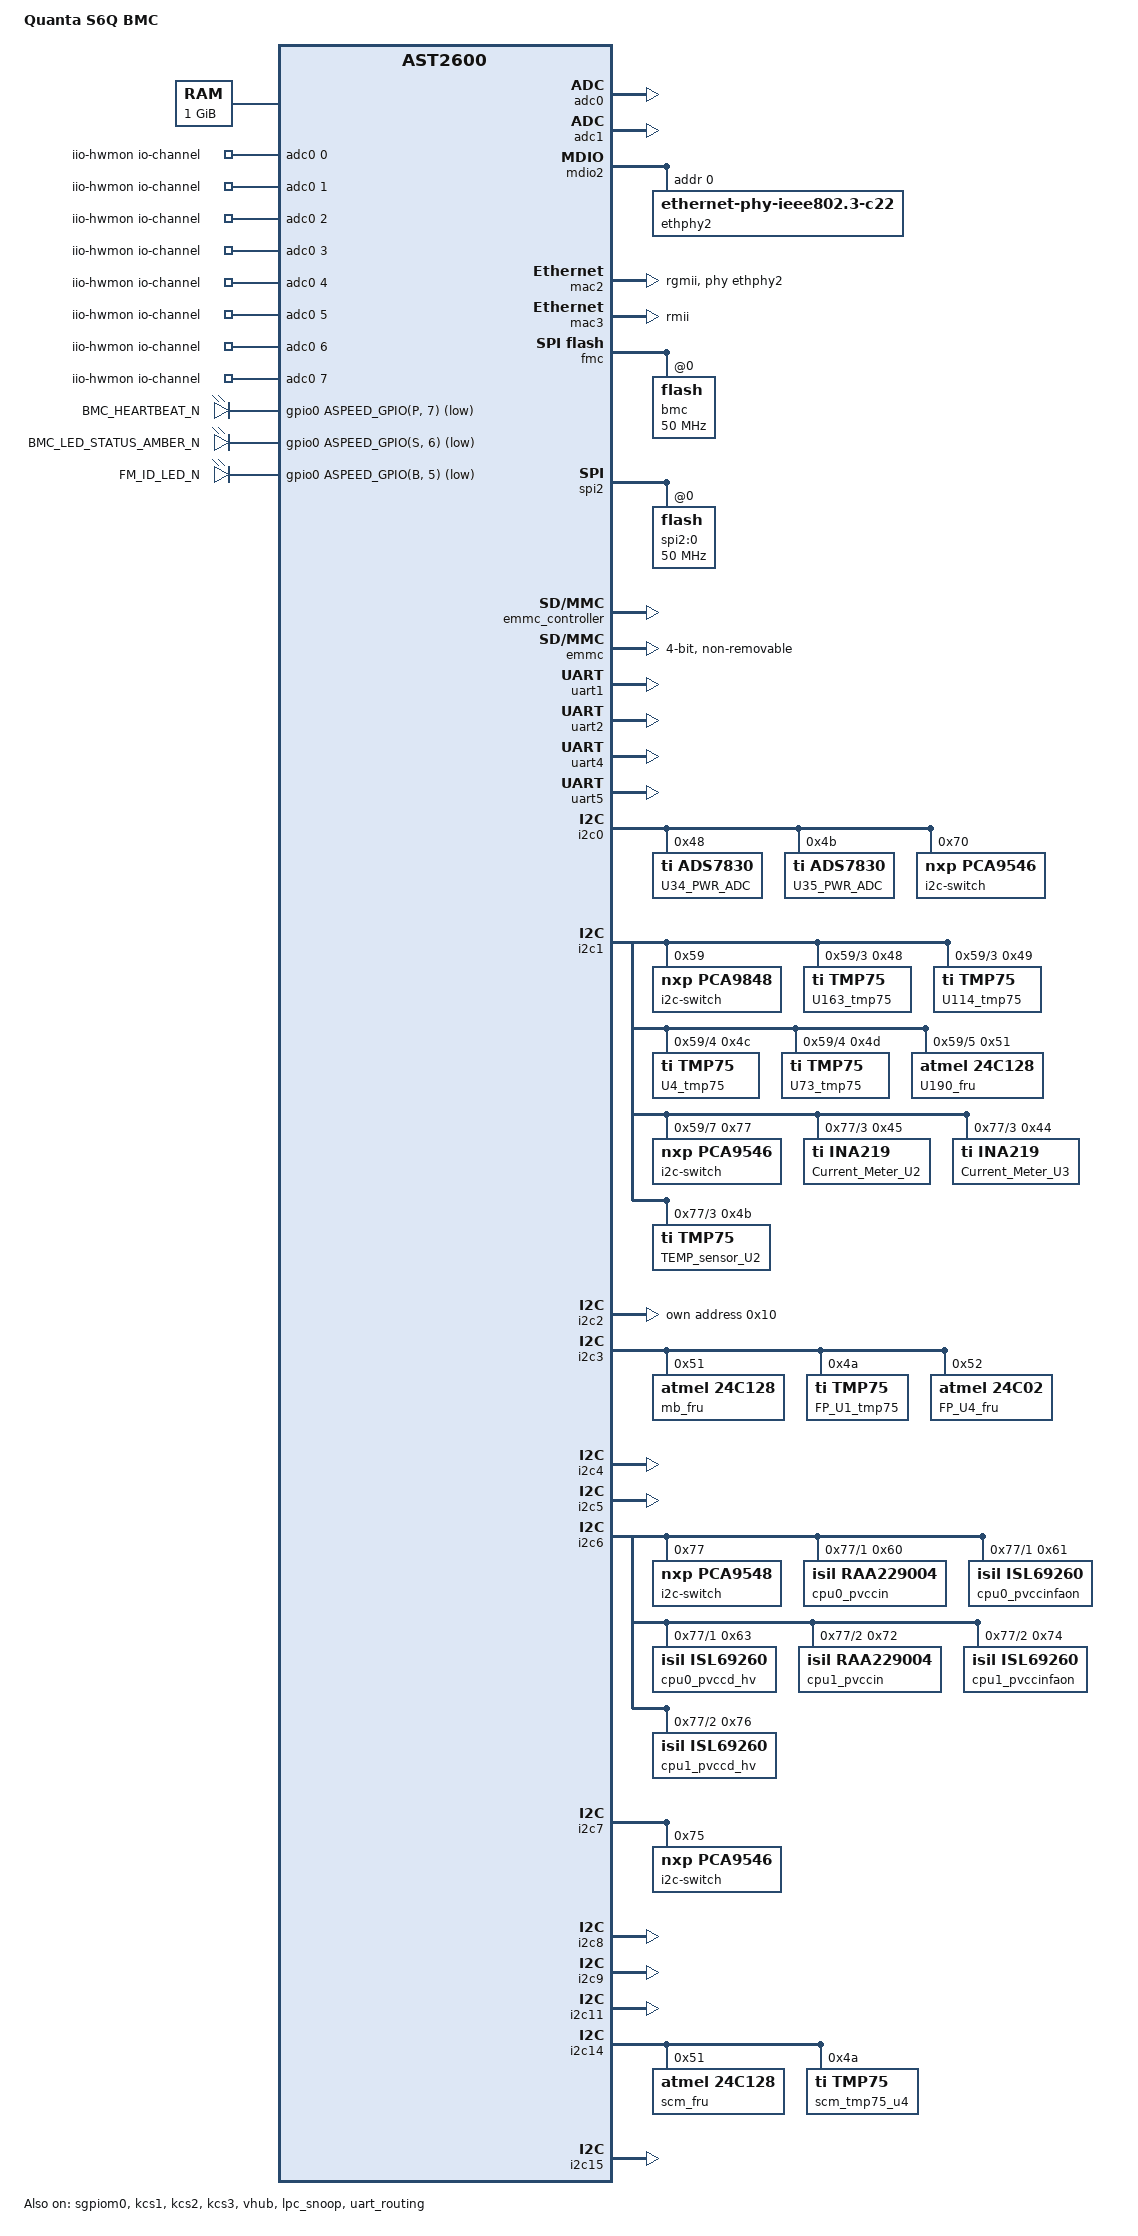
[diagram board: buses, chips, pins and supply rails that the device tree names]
// SPDX-License-Identifier: GPL-2.0-or-later
// Copyright 2022 Quanta Corp.
/dts-v1/;

#include "aspeed-g6.dtsi"
#include <dt-bindings/gpio/aspeed-gpio.h>
#include <dt-bindings/i2c/i2c.h>

/ {
	model = "Quanta S6Q BMC";
	compatible = "quanta,s6q-bmc", "aspeed,ast2600";

	aliases {
		// bus 0
		i2c20 = &SMB_HOST_DB2000_3V3AUX_SCL;
		i2c21 = &U12_PCA9546_CH1;
		i2c22 = &SMB_HOST_DB800_B_SCL;
		i2c23 = &SMB_HOST_DB800_C_SCL;

		// bus 1
		i2c24 = &SMB_M2_P0_1V8AUX_SCL;
		i2c25 = &SMB_M2_P1_1V8AUX_SCL;
		i2c26 = &SMB_CPU_PIROM_3V3AUX_SCL;
		i2c27 = &SMB_TEMP_3V3AUX_SCL;
		i2c28 = &SMB_IPMB_3V3AUX_SSDSB_SCL;
		i2c29 = &SMB_IPMB_3V3AUX_SCL;
		i2c31 = &SMB_FB_SCL;

		// bus 1 - Fan board
		i2c32 = &SMB_IOEXP_SCL;
		i2c33 = &SMB_PROGRAM_SCL;
		i2c34 = &SMB_FB_SCL_CH2;
		i2c35 = &SMB_FAN_SENSE_SCL;

		// bus 6
		i2c36 = &U197_PCA9546_CH0;
		i2c37 = &U197_PCA9546_CH1;
		i2c38 = &U197_PCA9546_CH2;
		i2c39 = &U197_PCA9546_CH3;

		//bus 7
		i2c40 = &SMB_OCP_SFF_3V3AUX_SCL; //OCP1
		i2c41 = &SMB_OCP_LFF_3V3AUX_SCL; //OCP2
	};

	chosen {
		stdout-path = &uart5;
		bootargs = "console=ttyS4,115200n8 earlycon";
	};

	memory@80000000 {
		device_type = "memory";
		reg = <0x80000000 0x40000000>;
	};

	iio-hwmon {
		compatible = "iio-hwmon";
		io-channels = <&adc0 0>, <&adc0 1>, <&adc0 2>, <&adc0 3>,
			<&adc0 4>, <&adc0 5>, <&adc0 6>, <&adc0 7>,
			<&adc1 0>, <&adc1 1>, <&adc1 2>, <&adc1 3>,
			<&adc1 4>, <&adc1 5>, <&adc1 6>, <&adc1 7>;
	};

	leds {
		compatible = "gpio-leds";

		BMC_HEARTBEAT_N {
			label = "BMC_HEARTBEAT_N";
			gpios = <&gpio0 ASPEED_GPIO(P, 7) GPIO_ACTIVE_LOW>;
			linux,default-trigger = "heartbeat";
		};

		BMC_LED_STATUS_AMBER_N {
			label = "BMC_LED_STATUS_AMBER_N";
			gpios = <&gpio0 ASPEED_GPIO(S, 6) GPIO_ACTIVE_LOW>;
			default-state = "off";
		};

		FM_ID_LED_N {
			label = "FM_ID_LED_N";
			gpios = <&gpio0 ASPEED_GPIO(B, 5) GPIO_ACTIVE_LOW>;
			default-state = "off";
		};
	};
};

&gpio0 {
	gpio-line-names =
	/*A0 - A7*/	"", "", "", "", "", "", "", "",
	/*B0 - B7*/	"", "", "", "", "", "", "", "",
	/*C0 - C7*/	"", "", "", "", "", "", "", "",
	/*D0 - D7*/	"", "", "", "", "", "", "", "",
	/*E0 - E7*/	"", "", "", "", "", "", "", "",
	/*F0 - F7*/	"PLTRST_N", "", "PWR_DEBUG_N", "", "", "", "", "",
	/*G0 - G7*/	"", "", "", "", "", "", "", "",
	/*H0 - H7*/	"", "", "", "", "", "", "", "",
	/*I0 - I7*/	"", "", "", "", "", "", "", "",
	/*J0 - J7*/	"", "", "", "", "", "", "", "",
	/*K0 - K7*/	"", "", "", "", "", "", "", "",
	/*L0 - L7*/	"", "", "", "", "PREQ_N", "TCK_MUX_SEL", "", "",
	/*M0 - M7*/	"", "", "", "PWRGD_SYS_PWROK", "", "PRDY_N", "", "",
	/*N0 - N7*/	"", "", "", "", "", "", "", "",
	/*O0 - O7*/	"", "", "", "", "", "", "", "",
	/*P0 - P7*/	"SYS_BMC_PWRBTN_R_N", "SYS_PWRBTN_N", "FM_MB_RST_BTN", "RST_BMC_RSTBTN_OUT_N", "", "", "", "",
	/*Q0 - Q7*/	"", "", "", "", "", "", "", "",
	/*R0 - R7*/	"", "", "", "", "", "", "", "",
	/*S0 - S7*/	"", "", "", "FP_ID_BTN_SCM_N", "", "", "", "",
	/*T0 - T7*/	"", "", "", "", "", "", "", "",
	/*U0 - U7*/	"", "", "", "", "", "", "", "",
	/*V0 - V7*/	"", "", "", "", "", "SMI", "", "",
	/*W0 - W7*/	"", "", "", "", "", "", "", "",
	/*X0 - X7*/	"", "", "", "", "", "", "", "",
	/*Y0 - Y7*/	"", "", "", "", "", "", "", "",
	/*Z0 - Z7*/	"FM_BMC_READY_N", "", "", "", "", "", "", "",
	/*AA0 - AA7*/	"", "", "", "", "", "", "", "",
	/*AB0 - AB7*/	"", "", "", "", "", "", "", "",
	/*AC0 - AC7*/	"", "", "", "", "", "", "", "";
};

&sgpiom0 {
	status = "okay";
	ngpios = <128>;
	bus-frequency = <48000>;
	gpio-line-names =
	/* SGPIO input lines */
	/*IOA0-IOA7*/	"","", "SIO_POWER_GOOD","OA1", "XDP_PRST_N","", "","", "FM_SLPS3_PLD_N","", "FM_SLPS4_PLD_N","", "FM_BIOS_POST_CMPLT_BMC_N","", "FM_ADR_TRIGGER_N","OA7",
	/*IOB0-IOB7*/	"FM_ADR_COMPLETE","", "FM_PMBUS_ALERT_B_EN","", "PSU0_PRESENT_N","", "PSU1_PRESENT_N","", "PSU0_VIN_BUF_GOOD","", "PSU01_VIN_BUF_GOOD","", "PWRGD_PS0_PWROK_R","", "PWRGD_PS1_PWROK_R","",
	/*IOC0-IOC7*/	"PWRGD_PS_PWROK_PLD_R","", "CHASSIS_INTRUSION","", "BMC_MFG_MODE","", "FM_BMC_EN_DET_R","", "FM_ME_BT_DONE","", "CPU1_PRESENCE","", "CPU2_PRESENCE","", "IRQ_PSYS_CRIT_N","",
	/*IOD0-IOD7*/	"","", "CPU1_THERMTRIP","", "CPU2_THERMTRIP","", "CPU1_MEM_THERM_EVENT","", "CPU2_MEM_THERM_EVENT","", "CPU1_VRHOT","", "CPU2_VRHOT","", "","",
	/*IOE0-IOE7*/	"","", "CPU1_MEM_VRHOT","", "CPU2_MEM_VRHOT","", "","", "PCH_BMC_THERMTRIP","", "","", "","", "","",
	/*IOF0-IOF7*/	"CPU_ERR0","", "CPU_ERR1","", "CPU_ERR2","", "","", "","", "CPU_CATERR","", "","", "","",
	/*IOG0-IOG7*/	"","", "","", "","", "","", "","", "","", "","", "","",
	/*IOH0-IOH7*/	"","", "FP_ID_BTN_R1_N","", "FP_RST_BTN_N","", "","", "","", "FP_PWR_BTN_PLD_N_R","", "","", "","",
	/*IOI0-IOI7*/	"","", "","", "","", "","", "","", "","", "","", "","",
	/*IOJ0-IOJ7*/	"","", "","", "","", "","", "","", "","", "","", "","",
	/*IOK0-IOK7*/	"","", "","", "","", "","", "","", "","", "","", "","",
	/*IOL0-IOL7*/	"","", "","", "","", "","", "","", "","", "","", "","",
	/*IOM0-IOM7*/	"","", "","", "","", "","", "","", "","", "","", "","",
	/*ION0-ION7*/	"","BMC_SW_HEARTBEAT_N_R", "","FP_LED_FAULT_N", "","FP_ID_LED_N", "","FM_BMC_RSTBTN_OUT_N", "","FM_THERMTRIP_DLY_LVC1_R_N", "","", "","RST_PCA9548_SENSOR_PLD_N", "","USB_OC1_REAR_N",
	/*IOO0-IOO7*/	"","IRQ_TPM_SPI_N", "","", "","IRQ_PCH_SCI_WHEA_R_N", "","IRQ_BMC_PCH_NMI_R", "","H_CPU_NMI_LVC1_R_N", "","", "","", "","FM_JTAG_BMC_PLD_MUX_SEL",
	/*IOP0-IOP7*/	"IP0","OP0", "","", "","", "","", "","", "","", "","", "IP7","OP7";
};

&adc0 {
	vref = <2500>;
	status = "okay";

	pinctrl-names = "default";
	pinctrl-0 = <&pinctrl_adc0_default &pinctrl_adc1_default
		&pinctrl_adc2_default &pinctrl_adc3_default
		&pinctrl_adc4_default &pinctrl_adc5_default
		&pinctrl_adc6_default &pinctrl_adc7_default>;
};

&adc1 {
	vref = <2500>;
	status = "okay";

	pinctrl-names = "default";
	pinctrl-0 = <&pinctrl_adc8_default &pinctrl_adc9_default
		&pinctrl_adc10_default &pinctrl_adc11_default
		&pinctrl_adc12_default &pinctrl_adc13_default
		&pinctrl_adc14_default &pinctrl_adc15_default>;
};

&mdio2 {
	status = "okay";

	ethphy2: ethernet-phy@0 {
		compatible = "ethernet-phy-ieee802.3-c22";
		reg = <0>;
	};
};

&mac2 {
	status = "okay";

	phy-mode = "rgmii";
	phy-handle = <&ethphy2>;

	pinctrl-names = "default";
	pinctrl-0 = <&pinctrl_rgmii3_default>;
};

&mac3 {
	status = "okay";

	phy-mode = "rmii";
	use-ncsi;

	pinctrl-names = "default";
	pinctrl-0 = <&pinctrl_rmii4_default>;
};

&fmc {
	status = "okay";

	flash@0 {
		status = "okay";
		m25p,fast-read;
		label = "bmc";
		spi-max-frequency = <50000000>;
#include "openbmc-flash-layout-64.dtsi"
	};
};

&spi2 {
	pinctrl-names = "default";
	pinctrl-0 = <&pinctrl_spi2_default &pinctrl_spi2cs1_default
		&pinctrl_spi2cs2_default>;
	status = "okay";

	flash@0 {
		status = "okay";
		m25p,fast-read;
		label = "spi2:0";
		spi-max-frequency = <50000000>;
	};
};

&kcs1 {
	status = "okay";
	aspeed,lpc-io-reg = <0xCA0>;
};

&kcs2 {
	status = "okay";
	aspeed,lpc-io-reg = <0xCA8>;
};

&kcs3 {
	status = "okay";
	aspeed,lpc-io-reg = <0xCA2>;
};

&emmc_controller {
	status = "okay";
};

&emmc {
	non-removable;
	bus-width = <4>;
	max-frequency = <100000000>;
};

&vhub {
	status = "okay";
};

&lpc_snoop {
	status = "okay";
	snoop-ports = <0x80>;
};

&uart1 {
	status = "okay";
};

&uart2 {
	status = "okay";
};

&uart4 {
	status = "okay";
};

&uart5 {
	status = "okay";
};

&uart_routing {
	status = "okay";
};

&i2c0 {
	status = "okay";

	U34_PWR_ADC@48 {
		compatible = "ti,ads7830";
		reg = <0x48>;
	};

	U35_PWR_ADC@4b {
		compatible = "ti,ads7830";
		reg = <0x4b>;
	};

	i2c-switch@70 {
		compatible = "nxp,pca9546";
		reg = <0x70>;
		#address-cells = <1>;
		#size-cells = <0>;
		i2c-mux-idle-disconnect;

		SMB_HOST_DB2000_3V3AUX_SCL: i2c@0 {
			#address-cells = <1>;
			#size-cells = <0>;
			reg = <0>;
		};

		U12_PCA9546_CH1: i2c@1 {
			#address-cells = <1>;
			#size-cells = <0>;
			reg = <1>;
		};

		SMB_HOST_DB800_B_SCL: i2c@2 {
			#address-cells = <1>;
			#size-cells = <0>;
			reg = <2>;
		};

		SMB_HOST_DB800_C_SCL: i2c@3 {
			#address-cells = <1>;
			#size-cells = <0>;
			reg = <3>;
		};
	};
};

&i2c1 {
	status = "okay";

	i2c-switch@59 {
		compatible = "nxp,pca9848";
		reg = <0x59>;
		#address-cells = <1>;
		#size-cells = <0>;
		i2c-mux-idle-disconnect;

		SMB_M2_P0_1V8AUX_SCL: i2c@0 {
			#address-cells = <1>;
			#size-cells = <0>;
			reg = <0>;
		};

		SMB_M2_P1_1V8AUX_SCL: i2c@1 {
			#address-cells = <1>;
			#size-cells = <0>;
			reg = <1>;
		};

		SMB_CPU_PIROM_3V3AUX_SCL: i2c@2 {
			#address-cells = <1>;
			#size-cells = <0>;
			reg = <2>;
		};

		SMB_TEMP_3V3AUX_SCL: i2c@3 {
			#address-cells = <1>;
			#size-cells = <0>;
			reg = <3>;

			U163_tmp75@48 {
				compatible = "ti,tmp75";
				reg = <0x48>;
			};
			U114_tmp75@49 {
				compatible = "ti,tmp75";
				reg = <0x49>;
			};
		};

		SMB_IPMB_3V3AUX_SSDSB_SCL: i2c@4 {
			#address-cells = <1>;
			#size-cells = <0>;
			reg = <4>;

			U4_tmp75@4c {
				compatible = "ti,tmp75";
				reg = <0x4c>;
			};
			U73_tmp75@4d {
				compatible = "ti,tmp75";
				reg = <0x4d>;
			};
		};

		SMB_IPMB_3V3AUX_SCL: i2c@5 {
			#address-cells = <1>;
			#size-cells = <0>;
			reg = <5>;

			U190_fru@51 {
				compatible = "atmel,24c128";
				reg = <0x51>;
				pagesize = <32>;
			};
		};

		SMB_FB_SCL: i2c@7 {
			#address-cells = <1>;
			#size-cells = <0>;
			reg = <7>;

			i2c-switch@77 {
				compatible = "nxp,pca9546";
				reg = <0x77>;
				#address-cells = <1>;
				#size-cells = <0>;
				i2c-mux-idle-disconnect;

				SMB_IOEXP_SCL: i2c@0 {
					#address-cells = <1>;
					#size-cells = <0>;
					reg = <0>;
				};

				SMB_PROGRAM_SCL: i2c@1 {
					#address-cells = <1>;
					#size-cells = <0>;
					reg = <1>;
				};

				SMB_FB_SCL_CH2: i2c@2 {
					#address-cells = <1>;
					#size-cells = <0>;
					reg = <2>;
				};

				SMB_FAN_SENSE_SCL: i2c@3 {
					#address-cells = <1>;
					#size-cells = <0>;
					reg = <3>;

					Current_Meter_U2@45 {
						compatible = "ti,ina219";
						reg = <0x45>;
						shunt-resistor = <1000>; /* = 1 mOhm */
					};

					Current_Meter_U3@44 {
						compatible = "ti,ina219";
						reg = <0x44>;
						shunt-resistor = <1000>; /* = 1 mOhm */
					};

					TEMP_sensor_U2@4b {
						compatible = "ti,tmp75";
						reg = <0x4b>;
					};
				};
			};
		};
	};
};

&i2c2 {
	status = "okay";
	bus-frequency = <400000>;

	ipmb@10 {
		compatible = "ipmb-dev";
		reg = <(0x10 | I2C_OWN_SLAVE_ADDRESS)>;
		i2c-protocol;
	};
};

&i2c3 {
	status = "okay";

	/* MB FRU (U173) @ 0xA2 */
	mb_fru: mb_fru@51 {
		compatible = "atmel,24c128";
		reg = <0x51>;
		pagesize = <32>;
	};

	/* FP_U1 Inlet */
	FP_U1_tmp75@4a {
		compatible = "ti,tmp75";
		reg = <0x4a>;
	};

	FP_U4_fru@52 {
		compatible = "atmel,24c02";
		reg = <0x52>;
		pagesize = <16>;
	};
};

&i2c4 {
	status = "okay";
};

&i2c5 {
	status = "okay";
};

&i2c6 {
	status = "okay";

	i2c-switch@77 {
		compatible = "nxp,pca9548";
		#address-cells = <1>;
		#size-cells = <0>;
		reg = <0x77>;
		i2c-mux-idle-disconnect;

		U197_PCA9546_CH0: i2c@0 {
			#address-cells = <1>;
			#size-cells = <0>;
			reg = <0>;
		};

		U197_PCA9546_CH1: i2c@1 {
			#address-cells = <1>;
			#size-cells = <0>;
			reg = <1>;

			cpu0_pvccin@60 {
				compatible = "isil,raa229004";
				reg = <0x60>;
			};

			cpu0_pvccinfaon@61 {
				compatible = "isil,isl69260";
				reg = <0x61>;
			};

			cpu0_pvccd_hv@63 {
				compatible = "isil,isl69260";
				reg = <0x63>;
			};
		};

		U197_PCA9546_CH2: i2c@2 {
			#address-cells = <1>;
			#size-cells = <0>;
			reg = <2>;

			cpu1_pvccin@72 {
				compatible = "isil,raa229004";
				reg = <0x72>;
			};

			cpu1_pvccinfaon@74 {
				compatible = "isil,isl69260";
				reg = <0x74>;
			};

			cpu1_pvccd_hv@76 {
				compatible = "isil,isl69260";
				reg = <0x76>;
			};
		};

		U197_PCA9546_CH3: i2c@3 {
			#address-cells = <1>;
			#size-cells = <0>;
			reg = <3>;
		};
	};
};

&i2c7 {
	status = "okay";

	i2c-switch@75 {
		compatible = "nxp,pca9546";
		#address-cells = <1>;
		#size-cells = <0>;
		reg = <0x75>;
		i2c-mux-idle-disconnect;

		SMB_OCP_SFF_3V3AUX_SCL: i2c@0 {
			#address-cells = <1>;
			#size-cells = <0>;
			reg = <0>;
		};

		SMB_OCP_LFF_3V3AUX_SCL: i2c@1 {
			#address-cells = <1>;
			#size-cells = <0>;
			reg = <1>;
		};
	};
};

&i2c8 {
	status = "okay";
};

&i2c9 {
	status = "okay";
};

&i2c11 {
	status = "okay";
};

&i2c14 {
	status = "okay";

	/* SCM FRU (U19) @ 0xA2 */
	scm_fru: scm_fru@51 {
		compatible = "atmel,24c128";
		reg = <0x51>;
		pagesize = <32>;
	};

	scm_tmp75_u4@4a {
		compatible = "ti,tmp75";
		reg = <0x4a>;
	};
};

&i2c15 {
	status = "okay";
};
